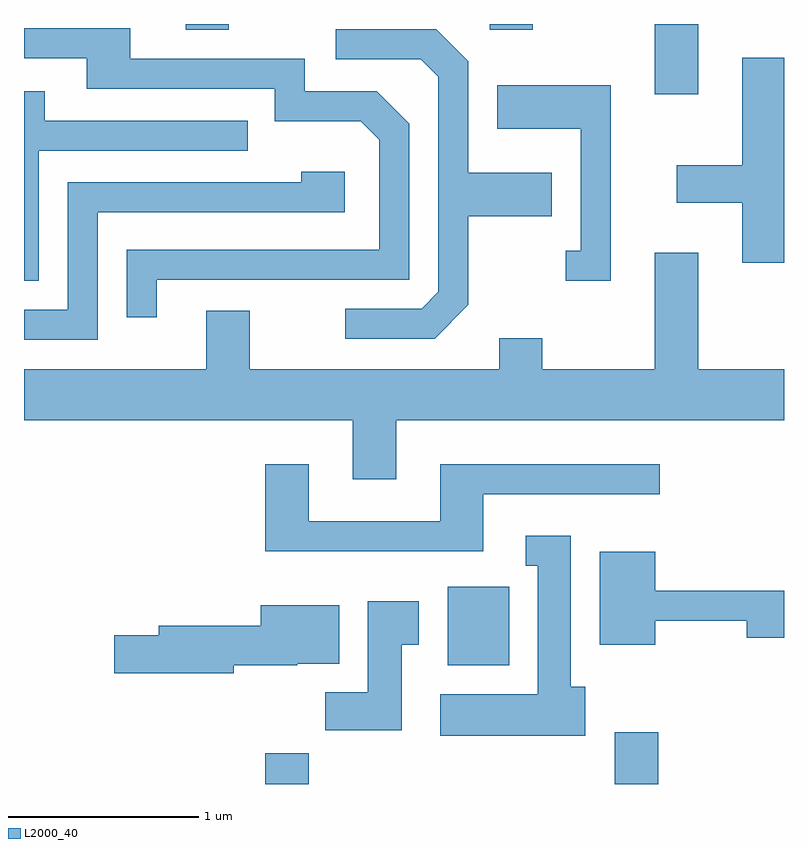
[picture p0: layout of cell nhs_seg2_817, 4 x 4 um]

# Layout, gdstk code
import gdstk
lib = gdstk.Library(unit=1e-6, precision=1e-09)
def R(c, l, rs):  # rectangles x0, y0, x1, y1
    for r in rs: c.add(gdstk.rectangle(r[:2], r[2:], *l))
def P(c, l, *ps):  # polygons
    for p in ps: c.add(gdstk.Polygon(p, *l))
L2000_40 = (2000, 40)

nhs_seg2_817 = lib.new_cell('nhs_seg2_817')
R(nhs_seg2_817, L2000_40, [(210.881,979.802,211.109,979.964), (212.721,979.802,212.949,980.074), (211.841,980.426,212.164,980.839), (212.931,983.431,213.159,983.802), (210.461,983.771,210.689,983.802), (212.061,983.771,212.289,983.802)])
P(nhs_seg2_817, L2000_40, [(210.309,982.456),(211.639,982.456),(211.639,983.277),(211.467,983.449),(211.089,983.449),(211.089,983.619),(210.169,983.619),(210.169,983.779),(209.611,983.779),(209.611,983.621),(209.941,983.621),(209.941,983.461),(210.931,983.461),(210.931,983.291),(211.384,983.291),(211.481,983.194),(211.481,982.614),(210.151,982.614),(210.151,982.258),(210.309,982.258)],
  [(211.949,982.324),(211.949,982.791),(212.389,982.791),(212.389,983.019),(211.949,983.019),(211.949,983.607),(211.782,983.774),(211.253,983.774),(211.253,983.616),(211.699,983.616),(211.791,983.524),(211.791,982.392),(211.704,982.304),(211.303,982.304),(211.303,982.146),(211.772,982.146)],
  [(213.611,983.624),(213.391,983.624),(213.391,983.059),(213.046,983.059),(213.046,982.861),(213.391,982.861),(213.391,982.546),(213.611,982.546)],
  [(212.699,983.479),(212.101,983.479),(212.101,983.251),(212.541,983.251),(212.541,982.609),(212.463,982.609),(212.463,982.451),(212.699,982.451)],
  [(209.689,983.136),(210.788,983.136),(210.788,983.294),(209.719,983.294),(209.719,983.449),(209.611,983.449),(209.611,982.451),(209.689,982.451)],
  [(209.999,982.811),(211.299,982.811),(211.299,983.024),(211.071,983.024),(211.071,982.969),(209.841,982.969),(209.841,982.299),(209.611,982.299),(209.611,982.141),(209.999,982.141)],
  [(211.569,981.716),(213.611,981.716),(213.611,981.984),(213.159,981.984),(213.159,982.599),(212.931,982.599),(212.931,981.984),(212.339,981.984),(212.339,982.149),(212.111,982.149),(212.111,981.984),(210.799,981.984),(210.799,982.294),(210.571,982.294),(210.571,981.984),(209.611,981.984),(209.611,981.716),(211.341,981.716),(211.341,981.406),(211.569,981.406)],
  [(212.029,981.326),(212.958,981.326),(212.958,981.484),(211.801,981.484),(211.801,981.184),(211.109,981.184),(211.109,981.484),(210.881,981.484),(210.881,981.026),(212.029,981.026)],
  [(212.564,980.314),(212.489,980.314),(212.489,981.109),(212.253,981.109),(212.253,980.951),(212.316,980.951),(212.316,980.274),(211.801,980.274),(211.801,980.056),(212.564,980.056)],
  [(212.934,980.661),(213.416,980.661),(213.416,980.571),(213.611,980.571),(213.611,980.819),(212.934,980.819),(212.934,981.024),(212.641,981.024),(212.641,980.536),(212.934,980.536)],
  [(211.599,980.536),(211.689,980.536),(211.689,980.764),(211.421,980.764),(211.421,980.284),(211.196,980.284),(211.196,980.086),(211.599,980.086)],
  [(210.714,980.426),(211.05,980.426),(211.05,980.436),(211.269,980.436),(211.269,980.744),(210.856,980.744),(210.856,980.634),(210.321,980.634),(210.321,980.584),(210.086,980.584),(210.086,980.386),(210.714,980.386)])

lib.write_gds('nhs_seg2_817.gds')
